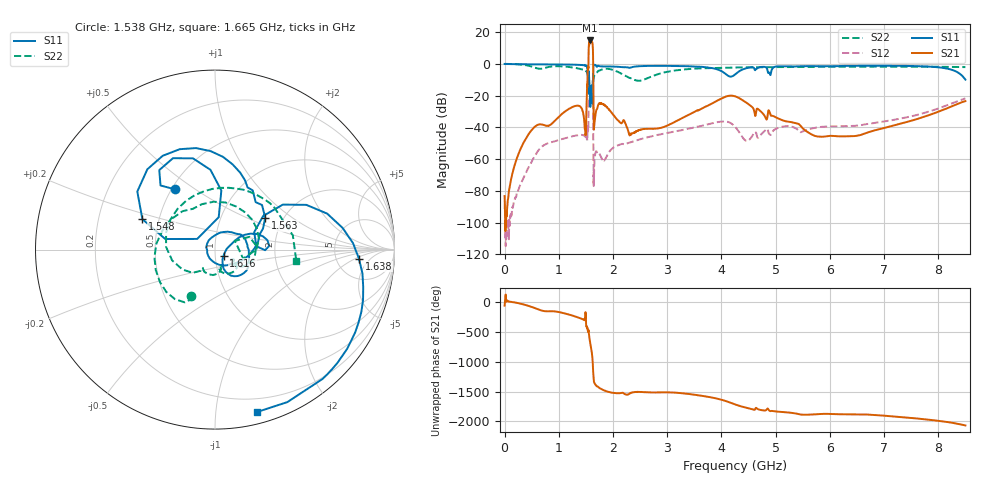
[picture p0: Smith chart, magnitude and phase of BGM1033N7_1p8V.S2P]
!Agilent Technologies,E5071C,MY46105553,A.09.30
!Date: Tue Apr 05 07:35:11 2011
!Data & Calibration Information:
!Freq	S11:SOLT2(ON)	S21:SOLT2(ON)	S12:SOLT2(ON)	S22:SOLT2(ON)
# Hz S dB R 50
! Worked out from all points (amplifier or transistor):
!   1600 points, 300 kHz to 8.5 GHz, reference 50 ohm
!   highest |S21| = 14.8 dB at 1.578 GHz (marker M1)
!   |S21| within 3 dB of that: 1.561 GHz to 1.625 GHz (64.03 MHz wide, 4.02 % of centre) (the widest 1 of 2)
!   unconditionally stable (mu >= 1): 47.77 MHz to end of sweep
!   at 1.466 GHz: K = 492.19, MAG = -24.7 dB, |S12| = -45.1 dB
!   at 3.267 GHz: K = 475.95, MAG = -26.1 dB, |S12| = -41.7 dB
!   at 8.5 GHz: K = 30.17, MAG = -18.7 dB, |S12| = -21.7 dB
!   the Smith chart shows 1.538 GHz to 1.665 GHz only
!   S11 on the Smith chart (normalised r, x): 1.538 GHz: 0.52, +0.42; 1.548 GHz: 0.40, +0.17; 1.563 GHz: 1.62, +0.65; 1.616 GHz: 1.10, -0.08; 1.638 GHz: 8.49, -2.40; 1.665 GHz: 0.09, -1.29
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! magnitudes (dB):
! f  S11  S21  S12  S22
! 300 kHz  0.0  -83.2  -91.4  0.0
! 244.3 MHz  -0.2  -57.8  -80.4  -0.2
! 521.4 MHz  -0.3  -40.8  -60.0  -1.9
! 1.419 GHz  -0.6  -28.0  -44.8  -3.3
! 1.502 GHz  -1.0  -41.1  -46.1  -4.4
! 1.538 GHz  -7.9  -2.3  -40.0  -10.8
! 1.548 GHz  -7.2  4.2  -32.6  -10.5
! 1.563 GHz  -9.6  13.2  -23.3  -12.8
! 1.578 GHz  -24.8  14.8  -21.3  -17.3
! 1.616 GHz  -24.7  13.7  -22.3  -19.3
! 1.628 GHz  -10.4  10.2  -25.1  -18.0
! 1.638 GHz  -1.9  -16.4  -54.6  -10.0
! 1.647 GHz  -0.7  -41.4  -70.8  -8.3
! 1.665 GHz  -0.6  -35.0  -58.2  -6.8
! 1.784 GHz  -1.6  -24.9  -58.9  -3.7
! 2.326 GHz  -2.2  -44.8  -49.3  -9.0
! 2.835 GHz  -1.2  -40.6  -44.6  -6.4
! 4.256 GHz  -6.5  -20.5  -39.8  -2.3
! 4.466 GHz  -2.6  -24.5  -48.5  -2.1
! 5.671 GHz  -1.4  -44.6  -40.6  -1.9
! 7.085 GHz  -1.1  -39.6  -35.8  -1.7
! 8.5 GHz  -9.9  -23.4  -21.7  -2.0
